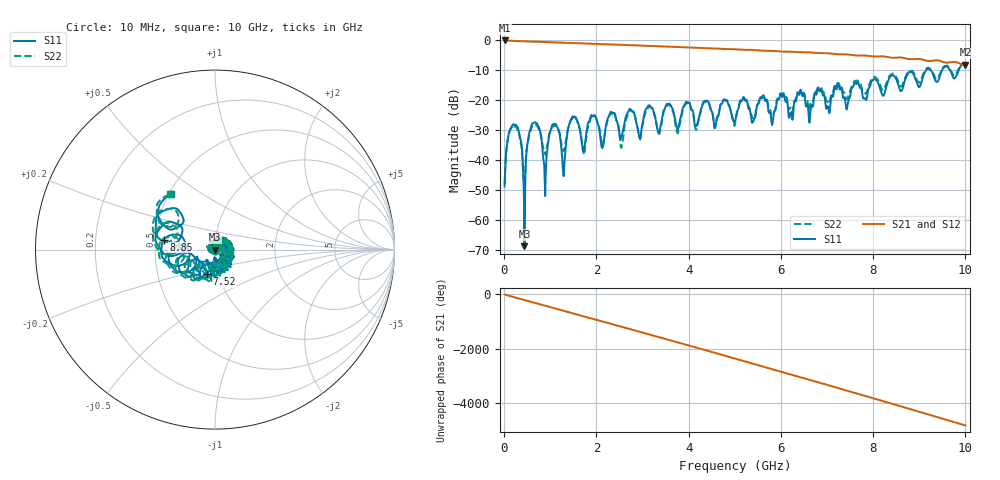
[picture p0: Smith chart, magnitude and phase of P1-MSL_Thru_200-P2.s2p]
! 2/19/2018 12:36:31 PM
! E:\STEPPED_EXPERIMENT_2018-02-19\P1-MSL_THRU_200-P2.S2P
! CHANNEL.1
! TR.MEASUREMENT
! CORRECTED.DATA
! Decimated for TDR Painter validation: every 10th frequency point (10 MHz steps), values unchanged.
# GHZ S RI R 50.0
! FREQ.GHZ  S11RE  S11IM  S21RE  S21IM  S12RE  S12IM  S22RE  S22IM
!; PortSelection: Port_12
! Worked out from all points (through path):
!   1000 points, 10 MHz to 10 GHz, reference 50 ohm
!   highest |S21| = 0.00 dB at 10 MHz (marker M1); lowest = -8.1 dB at 10 GHz (marker M2)
!   group delay of S21, straight-line fit = 1.34 ns
!   lowest |S11| = -68.6 dB at 440 MHz (marker M3), VSWR 1.00, Z = 50 - j0.0359 ohm
!   |S11| at or under -10 dB: start of sweep to 9.147 GHz; 9.25 GHz to 9.492 GHz (242.1 MHz wide, 2.58 % of centre); 9.672 GHz to 9.852 GHz (179.9 MHz wide, 1.84 % of centre)
!   |S22| runs from -49.3 to -7.7 dB; largest |S21 - S12| = 0.02
!   S11 on the Smith chart (normalised r, x): 10 MHz: 1.00, -0.01; 7.52 GHz: 0.88, -0.25; 8.85 GHz: 0.55, +0.07; 10 GHz: 0.51, +0.38
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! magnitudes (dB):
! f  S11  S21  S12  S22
! 10 MHz  -48.7  0.0  0.0  -48.0
! 230 MHz  -28.1  -0.2  -0.2  -28.7
! 440 MHz  -68.6  -0.3  -0.3  -49.3
! 640 MHz  -27.5  -0.4  -0.4  -28.1
! 880 MHz  -46.7  -0.5  -0.5  -36.6
! 1.08 GHz  -28.0  -0.6  -0.6  -28.6
! 1.28 GHz  -43.9  -0.7  -0.7  -36.7
! 1.48 GHz  -25.4  -0.8  -0.9  -26.1
! 1.68 GHz  -33.8  -1.0  -1.0  -33.2
! 2.35 GHz  -24.2  -1.4  -1.4  -24.7
! 2.55 GHz  -31.8  -1.5  -1.5  -35.3
! 2.74 GHz  -22.9  -1.6  -1.6  -23.2
! 2.94 GHz  -32.8  -1.7  -1.7  -32.2
! 3.15 GHz  -21.6  -1.8  -1.9  -21.9
! 3.34 GHz  -30.6  -1.9  -1.9  -30.6
! 3.56 GHz  -21.2  -2.0  -2.1  -21.3
! 5.01 GHz  -26.8  -3.0  -3.0  -27.5
! 6.67 GHz  -21.5  -4.0  -4.1  -20.8
! 7.52 GHz  -16.8  -4.8  -4.8  -15.8
! 8.34 GHz  -13.0  -5.6  -5.6  -12.2
! 8.85 GHz  -10.7  -6.3  -6.3  -10.2
! 10 GHz  -8.1  -8.1  -8.1  -8.0
